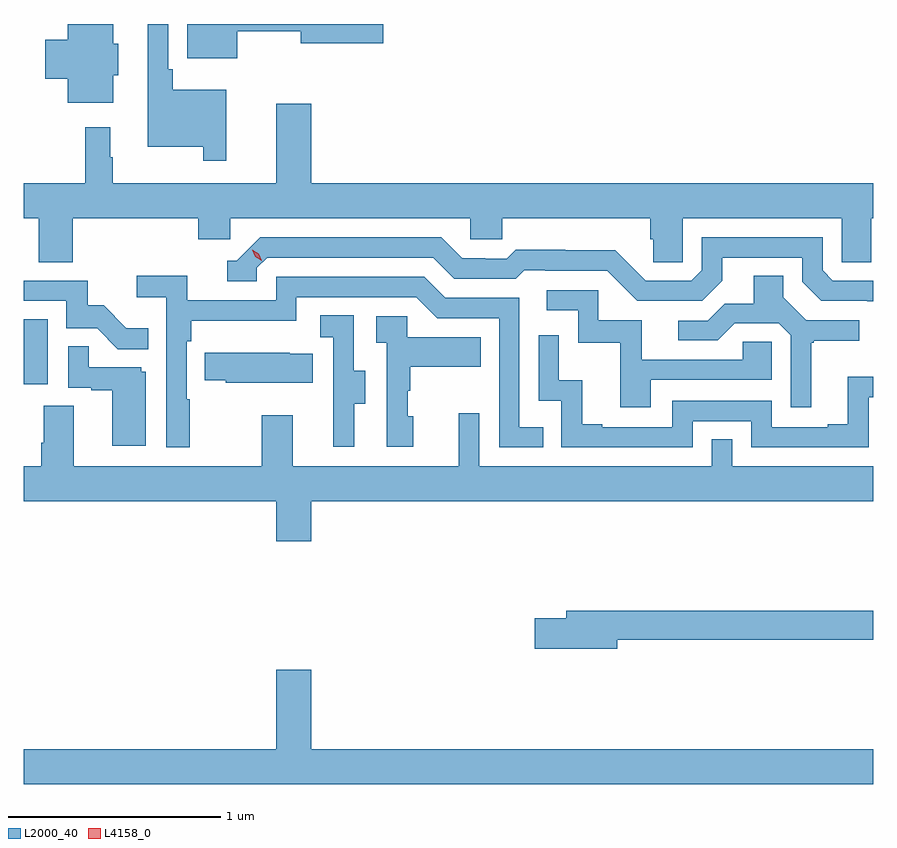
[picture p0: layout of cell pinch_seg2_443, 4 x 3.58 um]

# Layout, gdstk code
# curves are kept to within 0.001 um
import gdstk
lib = gdstk.Library(unit=1e-6, precision=1e-09)
def R(c, l, rs):  # rectangles x0, y0, x1, y1
    for r in rs: c.add(gdstk.rectangle(r[:2], r[2:], *l))
def P(c, l, *ps):  # polygons
    for p in ps: c.add(gdstk.Polygon(p, *l))
L2000_40 = (2000, 40)
L4158_0 = (4158, 0)

pinch_seg2_443 = lib.new_cell('pinch_seg2_443')
R(pinch_seg2_443, L2000_40, [(907.074,606.894,907.186,607.201)])
P(pinch_seg2_443, L2000_40, [(908.028,608.281),(907.775,608.281),(907.775,608.377),(907.755,608.377),(907.755,608.591),(907.658,608.591),(907.658,608.012),(907.92,608.012),(907.92,607.947),(908.028,607.947)],
  [(908.08,608.556),(908.378,608.556),(908.378,608.501),(908.767,608.501),(908.767,608.591),(907.844,608.591),(907.844,608.429),(908.08,608.429)],
  [(907.495,608.349),(907.519,608.349),(907.519,608.499),(907.495,608.499),(907.495,608.591),(907.28,608.591),(907.28,608.516),(907.175,608.516),(907.175,608.333),(907.28,608.333),(907.28,608.219),(907.495,608.219)],
  [(907.304,607.676),(907.895,607.676),(907.895,607.578),(908.046,607.578),(908.046,607.676),(909.177,607.676),(909.177,607.578),(909.327,607.578),(909.327,607.676),(910.025,607.676),(910.025,607.578),(910.039,607.578),(910.039,607.468),(910.176,607.468),(910.176,607.676),(910.926,607.676),(910.926,607.468),(911.065,607.468),(911.065,607.676),(911.074,607.676),(911.074,607.84),(908.428,607.84),(908.428,608.215),(908.264,608.215),(908.264,607.84),(907.492,607.84),(907.492,607.964),(907.48,607.964),(907.48,608.104),(907.363,608.104),(907.363,607.84),(907.074,607.84),(907.074,607.676),(907.144,607.676),(907.144,607.468),(907.304,607.468)],
  [(911.074,607.383),(910.884,607.383),(910.836,607.431),(910.836,607.587),(910.266,607.587),(910.266,607.431),(910.218,607.383),(910.002,607.383),(909.86,607.525),(909.624,607.525),(909.624,607.528),(909.391,607.528),(909.349,607.485),(909.246,607.485),(909.246,607.488),(909.139,607.488),(909.04,607.587),(908.187,607.587),(908.076,607.476),(908.033,607.476),(908.033,607.38),(908.172,607.38),(908.172,607.443),(908.22,607.491),(909.003,607.491),(909.102,607.392),(909.391,607.392),(909.43,607.431),(909.529,607.431),(909.529,607.428),(909.822,607.428),(909.963,607.287),(910.269,607.287),(910.363,607.381),(910.363,607.491),(910.74,607.491),(910.74,607.377),(910.83,607.287),(911.074,607.286)],
  [(910.783,607.089),(910.795,607.089),(910.795,607.1),(911.008,607.1),(911.008,607.197),(910.758,607.197),(910.651,607.304),(910.651,607.406),(910.511,607.406),(910.511,607.274),(910.376,607.274),(910.296,607.194),(910.155,607.194),(910.155,607.101),(910.342,607.101),(910.423,607.182),(910.629,607.182),(910.686,607.125),(910.686,606.786),(910.783,606.786)],
  [(907.855,606.824),(907.842,606.824),(907.842,607.097),(907.862,607.097),(907.862,607.193),(908.358,607.193),(908.358,607.305),(908.922,607.305),(909.021,607.206),(909.312,607.206),(909.312,606.597),(909.521,606.597),(909.521,606.693),(909.408,606.693),(909.408,607.302),(909.058,607.302),(908.959,607.401),(908.262,607.401),(908.262,607.29),(907.844,607.29),(907.844,607.406),(907.605,607.406),(907.605,607.304),(907.746,607.304),(907.746,606.597),(907.855,606.597)],
  [(907.661,607.159),(907.557,607.159),(907.45,607.266),(907.374,607.266),(907.374,607.383),(907.074,607.383),(907.074,607.287),(907.275,607.287),(907.275,607.158),(907.419,607.158),(907.517,607.06),(907.661,607.06)],
  [(910.027,606.915),(910.596,606.915),(910.596,607.095),(910.459,607.095),(910.459,607.011),(909.985,607.011),(909.985,607.197),(909.78,607.197),(909.78,607.338),(909.537,607.338),(909.537,607.242),(909.684,607.242),(909.684,607.089),(909.883,607.089),(909.883,606.786),(910.027,606.786)],
  [(908.629,606.802),(908.683,606.802),(908.683,606.957),(908.628,606.957),(908.628,607.22),(908.469,607.22),(908.469,607.117),(908.532,607.117),(908.532,606.813),(908.531,606.813),(908.531,606.6),(908.629,606.6)],
  [(908.908,606.744),(908.883,606.744),(908.883,606.863),(908.893,606.863),(908.893,606.977),(909.227,606.977),(909.227,607.117),(908.88,607.117),(908.88,607.215),(908.733,607.215),(908.733,607.091),(908.784,607.091),(908.784,606.6),(908.908,606.6)],
  [(910.224,606.72),(910.5,606.72),(910.5,606.597),(911.052,606.597),(911.052,606.833),(911.074,606.833),(911.074,606.931),(910.955,606.931),(910.955,606.706),(910.859,606.706),(910.859,606.693),(910.596,606.693),(910.596,606.816),(910.128,606.816),(910.128,606.693),(909.799,606.693),(909.799,606.706),(909.704,606.706),(909.704,606.914),(909.594,606.914),(909.594,607.126),(909.498,607.126),(909.498,606.816),(909.606,606.816),(909.606,606.597),(910.224,606.597)],
  [(907.648,606.954),(907.626,606.954),(907.626,606.975),(907.379,606.975),(907.379,607.073),(907.284,607.073),(907.284,606.879),(907.391,606.879),(907.391,606.867),(907.49,606.867),(907.49,606.606),(907.648,606.606)],
  [(908.435,607.039),(908.327,607.039),(908.327,607.042),(907.927,607.042),(907.927,606.913),(908.025,606.913),(908.025,606.902),(908.435,606.902)],
  [(908.428,606.344),(911.074,606.344),(911.074,606.508),(910.41,606.508),(910.41,606.635),(910.314,606.635),(910.314,606.508),(909.219,606.508),(909.219,606.757),(909.122,606.757),(909.122,606.508),(908.341,606.508),(908.341,606.748),(908.194,606.748),(908.194,606.508),(907.309,606.508),(907.309,606.794),(907.169,606.794),(907.169,606.62),(907.157,606.62),(907.157,606.508),(907.074,606.508),(907.074,606.344),(908.264,606.344),(908.264,606.156),(908.428,606.156)],
  [(909.868,605.692),(911.074,605.692),(911.074,605.828),(909.629,605.828),(909.629,605.792),(909.48,605.792),(909.48,605.65),(909.868,605.65)],
  [(911.074,605.176),(908.428,605.176),(908.428,605.551),(908.264,605.551),(908.264,605.176),(907.074,605.176),(907.074,605.012),(911.074,605.012)])
P(pinch_seg2_443, L4158_0, [(908.195,607.476),(908.165,607.496),(908.149,607.529),(908.149,607.529),(908.15,607.529),(908.18,607.509),(908.195,607.476),(908.195,607.476)])

lib.write_gds('pinch_seg2_443.gds')
